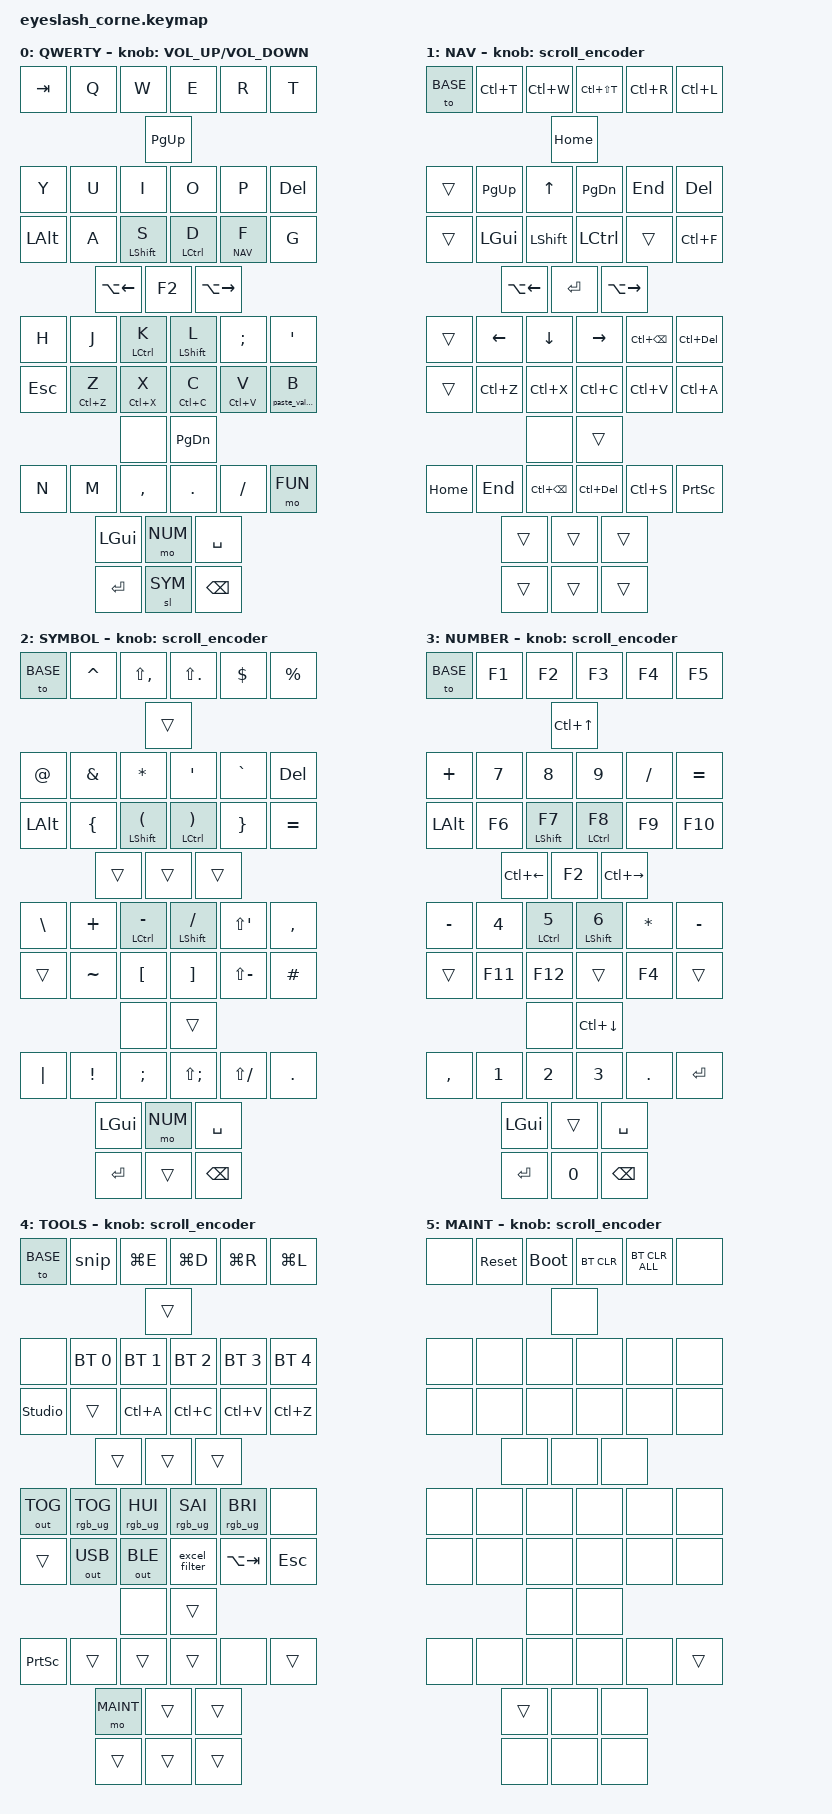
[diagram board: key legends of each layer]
#define ZMK_POINTING_DEFAULT_MOVE_VAL 1200
#define ZMK_POINTING_DEFAULT_SCRL_VAL 25

#include <input/processors.dtsi>
#include <zephyr/dt-bindings/input/input-event-codes.h>
#include <behaviors.dtsi>
#include <dt-bindings/zmk/bt.h>
#include <dt-bindings/zmk/ext_power.h>
#include <dt-bindings/zmk/keys.h>
#include <dt-bindings/zmk/pointing.h>
#include <dt-bindings/zmk/outputs.h>
#include <dt-bindings/zmk/rgb.h>

#define BASE  0
#define NAV   1
#define SYM   2
#define NUM   3
#define FUN   4
#define MAINT 5

&mmv_input_listener {
    input-processors = <&zip_xy_scaler 2 1>;
};

&msc_input_listener {
    input-processors = <&zip_scroll_scaler 2 1>;
};

&msc {
    acceleration-exponent = <1>;
    time-to-max-speed-ms = <100>;
    delay-ms = <0>;
};

&mmv {
    time-to-max-speed-ms = <500>;
    acceleration-exponent = <1>;
    trigger-period-ms = <16>;
};

&lt {
    tapping-term-ms = <200>;
};

&sl {
    release-after-ms = <2000>;
};

/ {
    macros {
        snip: snip {
            compatible = "zmk,behavior-macro";
            #binding-cells = <0>;
            bindings = <&macro_tap &kp LG(LS(S))>;
            label = "SNIP";
        };

        paste_values: paste_values {
            compatible = "zmk,behavior-macro";
            #binding-cells = <0>;
            bindings
                = <&macro_press &kp LCTRL &kp LALT>
                , <&macro_tap &kp V>
                , <&macro_release &kp LALT &kp LCTRL>
                , <&macro_tap &kp V>
                , <&macro_tap &kp ENTER>
                ;
            label = "PASTE_VALUES";
        };

        excel_filter: excel_filter {
            compatible = "zmk,behavior-macro";
            #binding-cells = <0>;
            bindings = <&macro_tap &kp LC(LS(L))>;
            label = "EXCEL_FILTER";
        };
    };

    behaviors {
        td0: td0 {
            compatible = "zmk,behavior-tap-dance";
            display-name = "Shift/Caps Lock Tap Dance";
            #binding-cells = <0>;
            bindings = <&kp LEFT_SHIFT>, <&kp CAPS>;
        };

        hm: homerow_mods {
            compatible = "zmk,behavior-hold-tap";
            #binding-cells = <2>;
            flavor = "tap-preferred";
            tapping-term-ms = <150>;
            quick-tap-ms = <0>;
            bindings = <&kp>, <&kp>;
        };

        edit_hold: edit_hold {
            compatible = "zmk,behavior-hold-tap";
            #binding-cells = <2>;
            flavor = "tap-preferred";
            tapping-term-ms = <150>;
            quick-tap-ms = <0>;
            bindings = <&kp>, <&kp>;
        };

        b_paste_values: b_paste_values {
            compatible = "zmk,behavior-hold-tap";
            #binding-cells = <2>;
            flavor = "tap-preferred";
            tapping-term-ms = <150>;
            quick-tap-ms = <0>;
            bindings = <&paste_values>, <&kp>;
        };
    };

    rgb_encoder: rgb_encoder {
        compatible = "zmk,behavior-sensor-rotate";
        #sensor-binding-cells = <0>;
        bindings = <&rgb_ug RGB_BRI>, <&rgb_ug RGB_BRD>;
    };

    scroll_encoder: scroll_encoder {
        compatible = "zmk,behavior-sensor-rotate";
        #sensor-binding-cells = <0>;
        bindings = <&msc SCRL_DOWN>, <&msc SCRL_UP>;
        tap-ms = <100>;
    };

    keymap {
        compatible = "zmk,keymap";

        /*
         * Each finger row is split across three lines:
         * left half, center/joystick, right half.
         * The final two lines are the left and right thumbs.
         */

        default_layer {
            display-name = "QWERTY";
            bindings = <
                &kp TAB  &kp Q  &kp W  &kp E  &kp R  &kp T
                    &kp PG_UP
                &kp Y  &kp U  &kp I  &kp O  &kp P  &kp DEL

                &kp LALT  &kp A  &hm LSHFT S  &hm LCTRL D  &lt NAV F  &kp G
                    &kp LA(LEFT)  &kp F2  &kp LA(RIGHT)
                &kp H  &kp J  &hm LCTRL K  &hm LSHFT L  &kp SEMI  &kp SQT

                &kp ESC  &edit_hold LC(Z) Z  &edit_hold LC(X) X  &edit_hold LC(C) C  &edit_hold LC(V) V  &b_paste_values 0 B
                    &none  &kp PG_DN
                &kp N  &kp M  &kp COMMA  &kp DOT  &kp FSLH  &mo FUN

                &kp LGUI  &mo NUM  &kp SPACE
                &kp ENTER  &sl SYM  &kp BSPC
            >;
            sensor-bindings = <&inc_dec_kp C_VOLUME_UP C_VOLUME_DOWN>;
        };

        nav_layer {
            display-name = "NAV";
            bindings = <
                &to BASE  &kp LC(T)  &kp LC(W)  &kp LC(LS(T))  &kp LC(R)  &kp LC(L)
                    &kp HOME
                &trans  &kp PG_UP  &kp UP  &kp PG_DN  &kp END  &kp DEL

                &trans  &kp LGUI  &kp LSHFT  &kp LCTRL  &trans  &kp LC(F)
                    &kp LA(LEFT)  &kp ENTER  &kp LA(RIGHT)
                &trans  &kp LEFT  &kp DOWN  &kp RIGHT  &kp LC(BSPC)  &kp LC(DEL)

                &trans  &kp LC(Z)  &kp LC(X)  &kp LC(C)  &kp LC(V)  &kp LC(A)
                    &none  &trans
                &kp HOME  &kp END  &kp LC(BSPC)  &kp LC(DEL)  &kp LC(S)  &kp PRINTSCREEN

                &trans  &trans  &trans
                &trans  &trans  &trans
            >;
            sensor-bindings = <&scroll_encoder>;
        };

        /*
         * Selenium symbol positions, with custom home-row mods.
         * Comma and period remain available on the outer right column.
         */
        sym_layer {
            display-name = "SYMBOL";
            bindings = <
                &to BASE  &kp CARET  &kp LS(COMMA)  &kp LS(DOT)  &kp DLLR  &kp PRCNT
                    &trans
                &kp AT  &kp AMPS  &kp ASTRK  &kp SQT  &kp GRAVE  &kp DEL

                &kp LALT  &kp LBRC  &hm LSHFT LPAR  &hm LCTRL RPAR  &kp RBRC  &kp EQUAL
                    &trans  &trans  &trans
                &kp BSLH  &kp PLUS  &hm LCTRL MINUS  &hm LSHFT FSLH  &kp LS(SQT)  &kp COMMA

                &trans  &kp TILDE  &kp LBKT  &kp RBKT  &kp LS(MINUS)  &kp HASH
                    &none  &trans
                &kp PIPE  &kp EXCL  &kp SEMI  &kp LS(SEMI)  &kp LS(FSLH)  &kp DOT

                &kp LGUI  &mo NUM  &kp SPACE
                &kp ENTER  &trans  &kp BSPC
            >;
            sensor-bindings = <&scroll_encoder>;
        };

        /*
         * NUM follows SYM so numbers take priority when both are held.
         * Extra F4 is at V; zero is on the right middle thumb.
         */
        num_layer {
            display-name = "NUMBER";
            bindings = <
                &to BASE  &kp F1  &kp F2  &kp F3  &kp F4  &kp F5
                    &kp LC(UP)
                &kp PLUS  &kp N7  &kp N8  &kp N9  &kp FSLH  &kp EQUAL

                &kp LALT  &kp F6  &hm LSHFT F7  &hm LCTRL F8  &kp F9  &kp F10
                    &kp LC(LEFT)  &kp F2  &kp LC(RIGHT)
                &kp MINUS  &kp N4  &hm LCTRL N5  &hm LSHFT N6  &kp ASTRK  &kp MINUS

                &trans  &kp F11  &kp F12  &trans  &kp F4  &trans
                    &none  &kp LC(DOWN)
                &kp COMMA  &kp N1  &kp N2  &kp N3  &kp DOT  &kp ENTER

                &kp LGUI  &trans  &kp SPACE
                &kp ENTER  &kp N0  &kp BSPC
            >;
            sensor-bindings = <&scroll_encoder>;
        };

        fun_layer {
            display-name = "TOOLS";
            bindings = <
                &to BASE  &snip  &kp LG(E)  &kp LG(D)  &kp LG(R)  &kp LG(L)
                    &trans
                &none  &bt BT_SEL 0  &bt BT_SEL 1  &bt BT_SEL 2  &bt BT_SEL 3  &bt BT_SEL 4

                &studio_unlock  &trans  &kp LC(A)  &kp LC(C)  &kp LC(V)  &kp LC(Z)
                    &trans  &trans  &trans
                &out OUT_TOG  &rgb_ug RGB_TOG  &rgb_ug RGB_HUI  &rgb_ug RGB_SAI  &rgb_ug RGB_BRI  &none

                &trans  &out OUT_USB  &out OUT_BLE  &excel_filter  &kp LA(TAB)  &kp ESC
                    &none  &trans
                &kp PRINTSCREEN  &trans  &trans  &trans  &none  &trans

                &mo MAINT  &trans  &trans
                &trans  &trans  &trans
            >;
            sensor-bindings = <&scroll_encoder>;
        };

        /*
         * Enter from TOOLS by holding the left Windows thumb.
         * Q: restart, W: bootloader,
         * E: clear current BT profile, R: clear all BT profiles.
         */
        maintenance_layer {
            display-name = "MAINT";
            bindings = <
                &none  &sys_reset  &bootloader  &bt BT_CLR  &bt BT_CLR_ALL  &none
                    &none
                &none  &none  &none  &none  &none  &none

                &none  &none  &none  &none  &none  &none
                    &none  &none  &none
                &none  &none  &none  &none  &none  &none

                &none  &none  &none  &none  &none  &none
                    &none  &none
                &none  &none  &none  &none  &none  &trans

                &trans  &none  &none
                &none  &none  &none
            >;
            sensor-bindings = <&scroll_encoder>;
        };
    };
};
